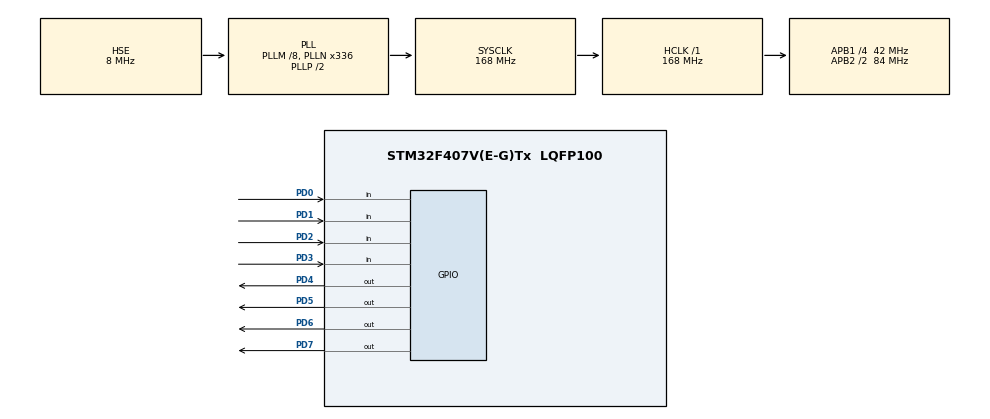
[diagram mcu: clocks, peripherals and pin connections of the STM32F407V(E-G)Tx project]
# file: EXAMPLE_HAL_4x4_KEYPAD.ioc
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Mcu.Family=STM32F4
Mcu.Name=STM32F407V(E-G)Tx
Mcu.Package=LQFP100
NVIC.PriorityGroup=NVIC_PRIORITYGROUP_0
PD0.Signal=GPIO_Input
PD1.Signal=GPIO_Input
PD2.Signal=GPIO_Input
PD3.Signal=GPIO_Input
PD4.Signal=GPIO_Output
PD5.Signal=GPIO_Output
PD6.Signal=GPIO_Output
PD7.Signal=GPIO_Output
PH0-OSC_IN.Mode=HSE-External-Oscillator
PH0-OSC_IN.Signal=RCC_OSC_IN
PH1-OSC_OUT.Mode=HSE-External-Oscillator
PH1-OSC_OUT.Signal=RCC_OSC_OUT
ProjectManager.HeapSize=0x200
ProjectManager.StackSize=0x400
ProjectManager.TargetToolchain=STM32CubeIDE
RCC.48MHZClocksFreq_Value=48000000
RCC.AHBFreq_Value=168000000
RCC.APB1CLKDivider=RCC_HCLK_DIV4
RCC.APB1Freq_Value=42000000
RCC.APB1TimFreq_Value=84000000
RCC.APB2CLKDivider=RCC_HCLK_DIV2
RCC.APB2Freq_Value=84000000
RCC.APB2TimFreq_Value=168000000
RCC.CortexFreq_Value=168000000
RCC.HCLKFreq_Value=168000000
RCC.HSE_VALUE=8000000
RCC.HSI_VALUE=16000000
RCC.PLLM=8
RCC.PLLN=336
RCC.PLLQ=7
RCC.PLLSourceVirtual=RCC_PLLSOURCE_HSE
RCC.SYSCLKFreq_VALUE=168000000
RCC.SYSCLKSource=RCC_SYSCLKSOURCE_PLLCLK
RCC.VCOOutputFreq_Value=336000000
board=STM32F407G-DISC1

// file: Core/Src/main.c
/* USER CODE BEGIN Header */
/**
  ******************************************************************************
  * @file           : main.c
  * @brief          : Main program body
  ******************************************************************************
  * @attention
  *
  * Copyright (c) 2023 STMicroelectronics.
  * All rights reserved.
  *
  * This software is licensed under terms that can be found in the LICENSE file
  * in the root directory of this software component.
  * If no LICENSE file comes with this software, it is provided AS-IS.
  *
  ******************************************************************************
  */
/* USER CODE END Header */
#include "main.h"

/* USER CODE BEGIN Includes */
#include "Keypad4x4.h"
#include "stdbool.h"
/* USER CODE END Includes */

/* USER CODE BEGIN PV */

bool myKeys[16];

char Key1, Key2, Key3, Key4, KeyA, Key5, Key6, KeyB,
Key7, Key8, Key9, KeyC, KeyY, Key0, KeyK, KeyD;

/* USER CODE END PV */

void SystemClock_Config(void);
static void MX_GPIO_Init(void);

int main(void)
{
  /* USER CODE BEGIN 1 */

	Keypad_WiresTypeDef myKeyPad;
	myKeyPad.IN0_Port = GPIOD;
	myKeyPad.IN1_Port = GPIOD;
	myKeyPad.IN2_Port = GPIOD;
	myKeyPad.IN3_Port = GPIOD;

	myKeyPad.OUT0_Port= GPIOD;
	myKeyPad.OUT1_Port= GPIOD;
	myKeyPad.OUT2_Port= GPIOD;
	myKeyPad.OUT3_Port= GPIOD;

	myKeyPad.IN0pin = GPIO_PIN_0;
	myKeyPad.IN1pin = GPIO_PIN_1;
	myKeyPad.IN2pin = GPIO_PIN_2;
	myKeyPad.IN3pin = GPIO_PIN_3;

	myKeyPad.OUT0pin = GPIO_PIN_4;
	myKeyPad.OUT1pin = GPIO_PIN_5;
	myKeyPad.OUT2pin = GPIO_PIN_6;
	myKeyPad.OUT3pin = GPIO_PIN_7;

  /* USER CODE END 1 */

  /* MCU Configuration--------------------------------------------------------*/

  /* Reset of all peripherals, Initializes the Flash interface and the Systick. */
  HAL_Init();

  /* Configure the system clock */
  SystemClock_Config();

  /* Initialize all configured peripherals */
  MX_GPIO_Init();
  /* USER CODE BEGIN 2 */
  Keypad4x4_Init(&myKeyPad);
  /* USER CODE END 2 */

  /* Infinite loop */
  while (1)
  {

    /* USER CODE BEGIN 3 */
	  Keypad4x4_ReadKeypad(myKeys);
	  Key1 = myKeys[0];
	  Key2 = myKeys[1];
	  Key3 = myKeys[2];
	  KeyA = myKeys[3];
	  Key4 = myKeys[4];
	  Key5 = myKeys[5];
	  Key6 = myKeys[6];
	  KeyB = myKeys[7];
	  Key7 = myKeys[8];
	  Key8 = myKeys[9];
	  Key9 = myKeys[10];
	  KeyC = myKeys[11];
	  KeyY = myKeys[12];
	  Key0 = myKeys[13];
	  KeyK = myKeys[14];
	  KeyD = myKeys[15];
  }
  /* USER CODE END 3 */
}

void SystemClock_Config(void)
{
  RCC_OscInitTypeDef RCC_OscInitStruct = {0};
  RCC_ClkInitTypeDef RCC_ClkInitStruct = {0};

  /** Configure the main internal regulator output voltage
  */
  __HAL_RCC_PWR_CLK_ENABLE();
  __HAL_PWR_VOLTAGESCALING_CONFIG(PWR_REGULATOR_VOLTAGE_SCALE1);

  /** Initializes the RCC Oscillators according to the specified parameters
  * in the RCC_OscInitTypeDef structure.
  */
  RCC_OscInitStruct.OscillatorType = RCC_OSCILLATORTYPE_HSE;
  RCC_OscInitStruct.HSEState = RCC_HSE_ON;
  RCC_OscInitStruct.PLL.PLLState = RCC_PLL_ON;
  RCC_OscInitStruct.PLL.PLLSource = RCC_PLLSOURCE_HSE;
  RCC_OscInitStruct.PLL.PLLM = 8;
  RCC_OscInitStruct.PLL.PLLN = 336;
  RCC_OscInitStruct.PLL.PLLP = RCC_PLLP_DIV2;
  RCC_OscInitStruct.PLL.PLLQ = 7;
  if (HAL_RCC_OscConfig(&RCC_OscInitStruct) != HAL_OK)
  {
    Error_Handler();
  }

  /** Initializes the CPU, AHB and APB buses clocks
  */
  RCC_ClkInitStruct.ClockType = RCC_CLOCKTYPE_HCLK|RCC_CLOCKTYPE_SYSCLK
                              |RCC_CLOCKTYPE_PCLK1|RCC_CLOCKTYPE_PCLK2;
  RCC_ClkInitStruct.SYSCLKSource = RCC_SYSCLKSOURCE_PLLCLK;
  RCC_ClkInitStruct.AHBCLKDivider = RCC_SYSCLK_DIV1;
  RCC_ClkInitStruct.APB1CLKDivider = RCC_HCLK_DIV4;
  RCC_ClkInitStruct.APB2CLKDivider = RCC_HCLK_DIV2;

  if (HAL_RCC_ClockConfig(&RCC_ClkInitStruct, FLASH_LATENCY_5) != HAL_OK)
  {
    Error_Handler();
  }
}

static void MX_GPIO_Init(void)
{
  GPIO_InitTypeDef GPIO_InitStruct = {0};

  /* GPIO Ports Clock Enable */
  __HAL_RCC_GPIOH_CLK_ENABLE();
  __HAL_RCC_GPIOD_CLK_ENABLE();

  /*Configure GPIO pin Output Level */
  HAL_GPIO_WritePin(GPIOD, GPIO_PIN_4|GPIO_PIN_5|GPIO_PIN_6|GPIO_PIN_7, GPIO_PIN_RESET);

  /*Configure GPIO pins : PD0 PD1 PD2 PD3 */
  GPIO_InitStruct.Pin = GPIO_PIN_0|GPIO_PIN_1|GPIO_PIN_2|GPIO_PIN_3;
  GPIO_InitStruct.Mode = GPIO_MODE_INPUT;
  GPIO_InitStruct.Pull = GPIO_NOPULL;
  HAL_GPIO_Init(GPIOD, &GPIO_InitStruct);

  /*Configure GPIO pins : PD4 PD5 PD6 PD7 */
  GPIO_InitStruct.Pin = GPIO_PIN_4|GPIO_PIN_5|GPIO_PIN_6|GPIO_PIN_7;
  GPIO_InitStruct.Mode = GPIO_MODE_OUTPUT_PP;
  GPIO_InitStruct.Pull = GPIO_NOPULL;
  GPIO_InitStruct.Speed = GPIO_SPEED_FREQ_LOW;
  HAL_GPIO_Init(GPIOD, &GPIO_InitStruct);

}

void Error_Handler(void)
{
  __disable_irq();
  while (1)
  {
  }
}
